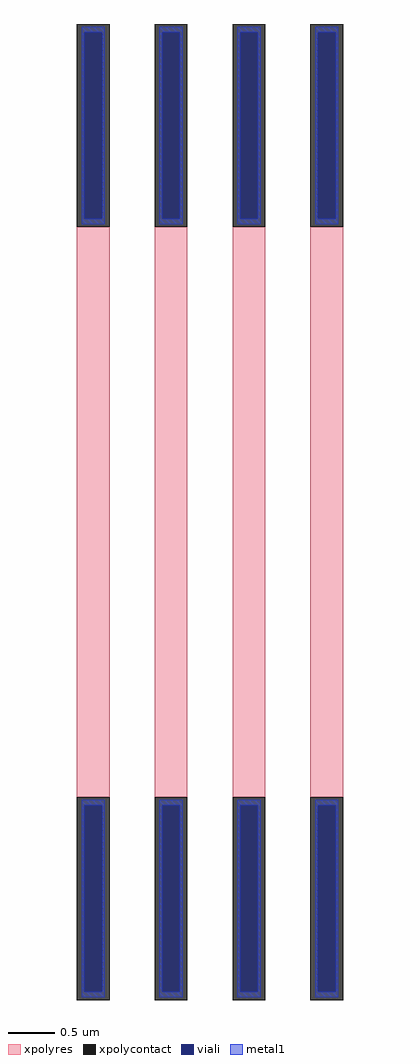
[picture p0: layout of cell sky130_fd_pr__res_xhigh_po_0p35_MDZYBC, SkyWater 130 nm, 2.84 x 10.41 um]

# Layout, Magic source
magic
tech sky130A
magscale 1 2
<< xpolycontact >>
rect -284 609 -214 1041
rect -284 -1041 -214 -609
rect -118 609 -48 1041
rect -118 -1041 -48 -609
rect 48 609 118 1041
rect 48 -1041 118 -609
rect 214 609 284 1041
rect 214 -1041 284 -609
<< xpolyres >>
rect -284 -609 -214 609
rect -118 -609 -48 609
rect 48 -609 118 609
rect 214 -609 284 609
<< viali >>
rect -268 626 -230 1023
rect -102 626 -64 1023
rect 64 626 102 1023
rect 230 626 268 1023
rect -268 -1023 -230 -626
rect -102 -1023 -64 -626
rect 64 -1023 102 -626
rect 230 -1023 268 -626
<< metal1 >>
rect -274 1023 -224 1035
rect -274 626 -268 1023
rect -230 626 -224 1023
rect -274 614 -224 626
rect -108 1023 -58 1035
rect -108 626 -102 1023
rect -64 626 -58 1023
rect -108 614 -58 626
rect 58 1023 108 1035
rect 58 626 64 1023
rect 102 626 108 1023
rect 58 614 108 626
rect 224 1023 274 1035
rect 224 626 230 1023
rect 268 626 274 1023
rect 224 614 274 626
rect -274 -626 -224 -614
rect -274 -1023 -268 -626
rect -230 -1023 -224 -626
rect -274 -1035 -224 -1023
rect -108 -626 -58 -614
rect -108 -1023 -102 -626
rect -64 -1023 -58 -626
rect -108 -1035 -58 -1023
rect 58 -626 108 -614
rect 58 -1023 64 -626
rect 102 -1023 108 -626
rect 58 -1035 108 -1023
rect 224 -626 274 -614
rect 224 -1023 230 -626
rect 268 -1023 274 -626
rect 224 -1035 274 -1023
<< properties >>
string gencell sky130_fd_pr__res_xhigh_po_0p35
string library sky130
string parameters w 0.35 l 6.25 m 1 nx 4 wmin 0.350 lmin 0.50 rho 2000 val 36.789k dummy 0 dw 0.0 term 188.2 sterm 0.0 caplen 0 wmax 0.350 guard 0 glc 1 grc 1 gtc 1 gbc 1 compatible {sky130_fd_pr__res_xhigh_po_0p35  sky130_fd_pr__res_xhigh_po_0p69 sky130_fd_pr__res_xhigh_po_1p41  sky130_fd_pr__res_xhigh_po_2p85 sky130_fd_pr__res_xhigh_po_5p73} snake 0 full_metal 1 n_guard 0 hv_guard 0 vias 1 viagb 0 viagt 0 viagl 0 viagr 0
<< end >>
